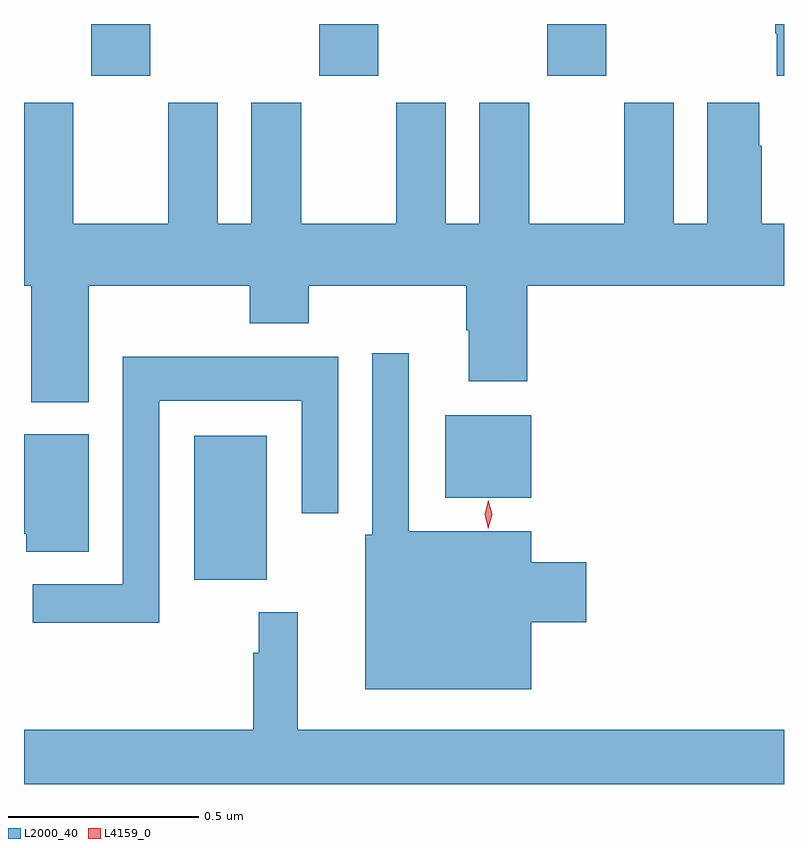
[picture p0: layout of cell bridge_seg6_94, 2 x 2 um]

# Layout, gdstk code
import gdstk
lib = gdstk.Library(unit=1e-6, precision=1e-09)
def R(c, l, rs):  # rectangles x0, y0, x1, y1
    for r in rs: c.add(gdstk.rectangle(r[:2], r[2:], *l))
def A(c, l, x, y, w, h, nx, ny, dx, dy):  # array of equal rectangles
    R(c, l, [(x+i*dx, y+j*dy, x+i*dx+w, y+j*dy+h) for i in range(nx) for j in range(ny)])
def P(c, l, *ps):  # polygons
    for p in ps: c.add(gdstk.Polygon(p, *l))
L2000_40 = (2000, 40)
L4159_0 = (4159, 0)

bridge_seg6_94 = lib.new_cell('bridge_seg6_94')
A(bridge_seg6_94, L2000_40, 687.223, 995.841, 0.155, 0.136, 3, 1, 0.6, 0)
R(bridge_seg6_94, L2000_40, [(687.494,994.514,687.685,994.894), (688.154,994.73,688.381,994.948)])
P(bridge_seg6_94, L2000_40, [(689.046,995.977),(689.023,995.977),(689.023,995.953),(689.027,995.953),(689.027,995.841),(689.046,995.841)],
  [(687.217,995.288),(687.64,995.288),(687.64,995.189),(687.795,995.189),(687.795,995.288),(688.21,995.288),(688.21,995.171),(688.217,995.171),(688.217,995.037),(688.37,995.037),(688.37,995.288),(689.046,995.288),(689.046,995.452),(688.988,995.452),(688.988,995.657),(688.981,995.657),(688.981,995.77),(688.844,995.77),(688.844,995.452),(688.756,995.452),(688.756,995.77),(688.625,995.77),(688.625,995.452),(688.375,995.452),(688.375,995.77),(688.244,995.77),(688.244,995.452),(688.156,995.452),(688.156,995.77),(688.025,995.77),(688.025,995.452),(687.775,995.452),(687.775,995.77),(687.644,995.77),(687.644,995.452),(687.556,995.452),(687.556,995.77),(687.425,995.77),(687.425,995.452),(687.175,995.452),(687.175,995.77),(687.046,995.77),(687.046,995.288),(687.065,995.288),(687.065,994.982),(687.217,994.982)],
  [(688.381,994.403),(688.525,994.403),(688.525,994.561),(688.381,994.561),(688.381,994.642),(688.059,994.642),(688.059,995.11),(687.963,995.11),(687.963,994.633),(687.944,994.633),(687.944,994.226),(688.381,994.226)],
  [(687.402,994.985),(687.777,994.985),(687.777,994.689),(687.873,994.689),(687.873,995.101),(687.306,995.101),(687.306,994.503),(687.069,994.503),(687.069,994.402),(687.402,994.402)],
  [(687.217,994.897),(687.047,994.897),(687.047,994.772),(687.046,994.772),(687.046,994.636),(687.052,994.636),(687.052,994.588),(687.217,994.588)],
  [(689.046,994.12),(687.766,994.12),(687.766,994.429),(687.664,994.429),(687.664,994.322),(687.649,994.322),(687.649,994.12),(687.046,994.12),(687.046,993.977),(689.046,993.977)])
P(bridge_seg6_94, L4159_0, [(688.268,994.649),(688.268,994.649),(688.258,994.687),(688.268,994.724),(688.268,994.724),(688.268,994.724),(688.278,994.687),(688.268,994.649)])

lib.write_gds('bridge_seg6_94.gds')
